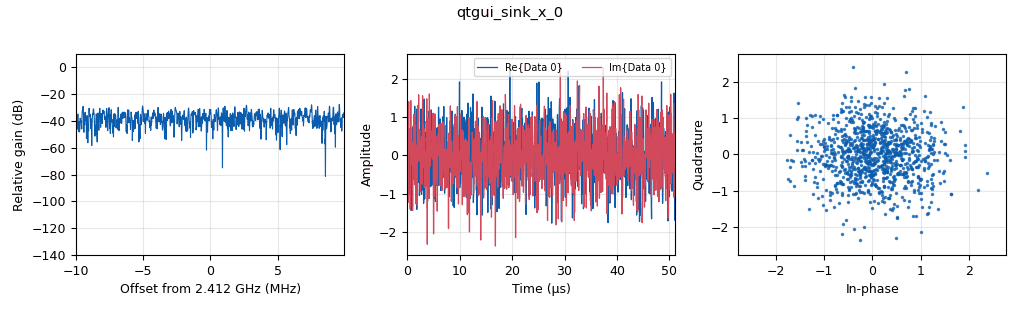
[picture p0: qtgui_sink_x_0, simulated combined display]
options:
  parameters:
    author: poneymagic
    generate_options: qt_gui
    id: wifi_jammer
    output_language: python
    title: Not titled yet
  states: {}

blocks:
- name: channel_wifi
  id: variable_qtgui_range
  parameters:
    start: '2412000000'
    step: '22000000'
    stop: '2462000000'
    value: '2412000000'
  states: {}
- name: freq
  id: variable
  parameters:
    value: channel_wifi
  states: {}
- name: samp_rate
  id: variable
  parameters:
    value: '20000000'
  states: {}
- name: analog_noise_source_x_0
  id: analog_noise_source_x
  parameters:
    amp: '1'
    noise_type: analog.GR_GAUSSIAN
    seed: '0'
    type: complex
  states: {}
- name: qtgui_sink_x_0
  id: qtgui_sink_x
  parameters:
    bw: samp_rate
    fc: freq
    fftsize: '1024'
    showrf: 'True'
    type: complex
  states: {}
- name: soapy_hackrf_sink_0
  id: soapy_hackrf_sink
  parameters:
    amp: 'True'
    bandwidth: '2000000'
    center_freq: freq
    samp_rate: samp_rate
    type: fc32
    vga: '47'
  states: {}

connections:
- [analog_noise_source_x_0, '0', qtgui_sink_x_0, '0']
- [analog_noise_source_x_0, '0', soapy_hackrf_sink_0, '0']

metadata:
  file_format: 1
  grc_version: 3.10.5.1
